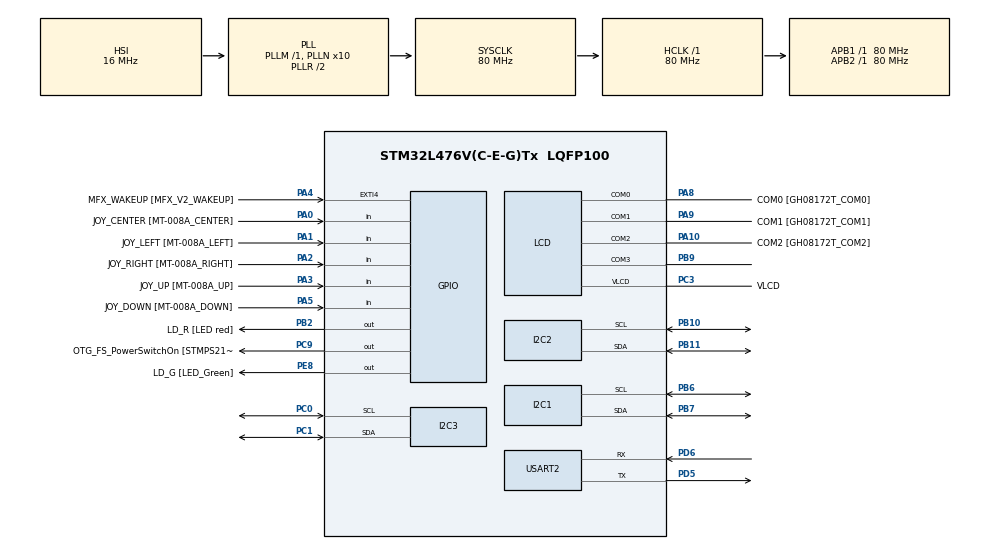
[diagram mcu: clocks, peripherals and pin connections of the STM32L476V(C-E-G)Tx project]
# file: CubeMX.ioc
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I2C1.Timing=0x10909CEC
I2C2.Timing=0x10909CEC
I2C3.Timing=0x10909CEC
Mcu.Family=STM32L4
Mcu.Name=STM32L476V(C-E-G)Tx
Mcu.Package=LQFP100
NVIC.PriorityGroup=NVIC_PRIORITYGROUP_4
NVIC.USART2_IRQn=true\:0\:0\:false\:false\:true\:true\:true\:true
PA0.GPIO_Label=JOY_CENTER [MT-008A_CENTER]
PA0.GPIO_Mode=GPIO_MODE_INPUT
PA0.GPIO_PuPd=GPIO_PULLDOWN
PA0.Signal=GPIO_Input
PA1.GPIO_Label=JOY_LEFT [MT-008A_LEFT]
PA1.GPIO_Mode=GPIO_MODE_INPUT
PA1.GPIO_PuPd=GPIO_PULLDOWN
PA1.Signal=GPIO_Input
PA10.GPIO_Label=COM2 [GH08172T_COM2]
PA10.GPIO_Mode=GPIO_MODE_AF_PP
PA10.GPIO_PuPd=GPIO_NOPULL
PA10.GPIO_Speed=GPIO_SPEED_FREQ_LOW
PA10.Mode=1/4 Duty Cycle
PA10.Signal=LCD_COM2
PA11.GPIO_Label=OTG_FS_DM [EMIF02-USB03F2_D-out]
PA11.GPIO_Mode=GPIO_MODE_AF_PP
PA11.GPIO_PuPd=GPIO_NOPULL
PA11.GPIO_Speed=GPIO_SPEED_FREQ_VERY_HIGH
PA11.Signal=USB_OTG_FS_DM
PA12.GPIO_Label=OTG_FS_DP [EMIF02-USB03F2_D+out]
PA12.GPIO_Mode=GPIO_MODE_AF_PP
PA12.GPIO_PuPd=GPIO_NOPULL
PA12.GPIO_Speed=GPIO_SPEED_FREQ_VERY_HIGH
PA12.Signal=USB_OTG_FS_DP
PA13\ (JTMS-SWDIO).Mode=Serial_Wire
PA13\ (JTMS-SWDIO).Signal=SYS_JTMS-SWDIO
PA14\ (JTCK-SWCLK).Mode=Serial_Wire
PA14\ (JTCK-SWCLK).Signal=SYS_JTCK-SWCLK
PA2.GPIO_Label=JOY_RIGHT [MT-008A_RIGHT]
PA2.GPIO_Mode=GPIO_MODE_INPUT
PA2.GPIO_PuPd=GPIO_PULLDOWN
PA2.Signal=GPIO_Input
PA3.GPIO_Label=JOY_UP [MT-008A_UP]
PA3.GPIO_Mode=GPIO_MODE_INPUT
PA3.GPIO_PuPd=GPIO_PULLDOWN
PA3.Signal=GPIO_Input
PA4.GPIO_Label=MFX_WAKEUP [MFX_V2_WAKEUP]
PA4.GPIO_ModeDefaultEXTI=GPIO_MODE_EVT_RISING
PA4.GPIO_PuPd=GPIO_NOPULL
PA4.Signal=GPXTI4
PA5.GPIO_Label=JOY_DOWN [MT-008A_DOWN]
PA5.GPIO_Mode=GPIO_MODE_INPUT
PA5.GPIO_PuPd=GPIO_PULLDOWN
PA5.Signal=GPIO_Input
PA8.GPIO_Label=COM0 [GH08172T_COM0]
PA8.GPIO_Mode=GPIO_MODE_AF_PP
PA8.GPIO_PuPd=GPIO_NOPULL
PA8.GPIO_Speed=GPIO_SPEED_FREQ_LOW
PA8.Mode=1/4 Duty Cycle
PA8.Signal=LCD_COM0
PA9.GPIO_Label=COM1 [GH08172T_COM1]
PA9.GPIO_Mode=GPIO_MODE_AF_PP
PA9.GPIO_PuPd=GPIO_NOPULL
PA9.GPIO_Speed=GPIO_SPEED_FREQ_LOW
PA9.Mode=1/4 Duty Cycle
PA9.Signal=LCD_COM1
PB10.Mode=I2C
PB10.Signal=I2C2_SCL
PB11.Mode=I2C
PB11.Signal=I2C2_SDA
PB2.GPIO_Label=LD_R [LED red]
PB2.GPIO_ModeDefaultOutputPP=GPIO_MODE_OUTPUT_PP
PB2.GPIO_PuPd=GPIO_PULLUP
PB2.GPIO_Speed=GPIO_SPEED_FREQ_VERY_HIGH
PB2.Signal=GPIO_Output
PB6.Mode=I2C
PB6.Signal=I2C1_SCL
PB7.Mode=I2C
PB7.Signal=I2C1_SDA
PB9.Mode=1/4 Duty Cycle
PB9.Signal=LCD_COM3
PC0.Mode=I2C
PC0.Signal=I2C3_SCL
PC1.Mode=I2C
PC1.Signal=I2C3_SDA
PC3.GPIO_Label=VLCD
PC3.GPIO_Mode=GPIO_MODE_AF_PP
PC3.GPIO_PuPd=GPIO_NOPULL
PC3.GPIO_Speed=GPIO_SPEED_FREQ_LOW
PC3.Mode=1/4 Duty Cycle
PC3.Signal=LCD_VLCD
PC9.GPIO_Label=OTG_FS_PowerSwitchOn [STMPS2141STR_EN]
PC9.GPIO_ModeDefaultOutputPP=GPIO_MODE_OUTPUT_PP
PC9.GPIO_PuPd=GPIO_NOPULL
PC9.GPIO_Speed=GPIO_SPEED_FREQ_LOW
PC9.PinState=GPIO_PIN_SET
PC9.Signal=GPIO_Output
PD5.Mode=Asynchronous
PD5.Signal=USART2_TX
PD6.Mode=Asynchronous
PD6.Signal=USART2_RX
PE8.GPIO_Label=LD_G [LED_Green]
PE8.GPIO_ModeDefaultOutputPP=GPIO_MODE_OUTPUT_PP
PE8.GPIO_PuPd=GPIO_PULLUP
PE8.GPIO_Speed=GPIO_SPEED_FREQ_VERY_HIGH
PE8.Signal=GPIO_Output
PH0-OSC_IN\ (PH0).Mode=HSE-External-Oscillator
PH0-OSC_IN\ (PH0).Signal=RCC_OSC_IN
PH1-OSC_OUT\ (PH1).Mode=HSE-External-Oscillator
PH1-OSC_OUT\ (PH1).Signal=RCC_OSC_OUT
ProjectManager.HeapSize=0x200
ProjectManager.StackSize=0x400
ProjectManager.TargetToolchain=STM32CubeIDE
RCC.ADCFreq_Value=136000000
RCC.AHBFreq_Value=80000000
RCC.APB1Freq_Value=80000000
RCC.APB1TimFreq_Value=80000000
RCC.APB2Freq_Value=80000000
RCC.APB2TimFreq_Value=80000000
RCC.CortexFreq_Value=80000000
RCC.HCLKFreq_Value=80000000
RCC.HSE_VALUE=8000000
RCC.HSI_VALUE=16000000
RCC.LSE_VALUE=32768
RCC.MSI_VALUE=4000000
RCC.PLLN=10
RCC.PLLQ=RCC_PLLQ_DIV4
RCC.PLLSAI1N=17
RCC.PLLSAI1Q=RCC_PLLQ_DIV4
RCC.PLLSourceVirtual=RCC_PLLSOURCE_HSI
RCC.PREFETCH_ENABLE=1
RCC.SYSCLKFreq_VALUE=80000000
RCC.SYSCLKSource=RCC_SYSCLKSOURCE_PLLCLK
RCC.USBFreq_Value=68000000
RCC.VCOOutputFreq_Value=160000000
USART2.VirtualMode-Asynchronous=VM_ASYNC
board=STM32L476G-DISCO

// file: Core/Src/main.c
/* USER CODE BEGIN Header */
/**
  ******************************************************************************
  * @file           : main.c
  * @brief          : Main program body
  ******************************************************************************
  * @attention
  *
  * Copyright (c) 2023 STMicroelectronics.
  * All rights reserved.
  *
  * This software is licensed under terms that can be found in the LICENSE file
  * in the root directory of this software component.
  * If no LICENSE file comes with this software, it is provided AS-IS.
  *
  ******************************************************************************
  */
/* USER CODE END Header */
#include "main.h"

/* USER CODE BEGIN Includes */
#include "i2c.h"
#include "usart.h"
#include "bmp280.h"
#include "bmp280_defs.h"
#include <stdio.h>
#include "driver_aht20.h"
#include "stm32l476g_discovery_glass_lcd.h"
#include <string.h>

/* USER CODE END Includes */

//I2C_HandleTypeDef hi2c1;
I2C_HandleTypeDef hi2c2;
I2C_HandleTypeDef hi2c3;

LCD_HandleTypeDef hlcd;

//UART_HandleTypeDef huart2;

void SystemClock_Config(void);
static void MX_GPIO_Init(void);
//static void MX_I2C1_Init(void);
static void MX_I2C2_Init(void);
static void MX_I2C3_Init(void);
static void MX_LCD_Init(void);
//static void MX_USART2_UART_Init(void);
/* USER CODE BEGIN PFP */

int8_t BMP280_init(void);
int8_t BMP280_read(void);
void delay_ms(uint32_t period_ms);
int8_t i2c_reg_write(uint8_t i2c_addr, uint8_t reg_addr, uint8_t *reg_data, uint16_t length);
int8_t i2c_reg_read(uint8_t i2c_addr, uint8_t reg_addr, uint8_t *reg_data, uint16_t length);
void print_rslt(const char api_name[], int8_t rslt);

/* USER CODE END PFP */

/* USER CODE BEGIN 0 */
JOYState_TypeDef JoyState;
FlagStatus KeyPressed;

struct bmp280_dev bmp;
struct bmp280_uncomp_data ucomp_data;
/* USER CODE END 0 */

int main(void)
{

  /* MCU Configuration--------------------------------------------------------*/

  /* Reset of all peripherals, Initializes the Flash interface and the Systick. */
  HAL_Init();

  /* Configure the system clock */
  SystemClock_Config();

  /* Initialize all configured peripherals */
  MX_GPIO_Init();
  MX_I2C1_Init();
  MX_I2C2_Init();
  MX_I2C3_Init();
  MX_LCD_Init();
  MX_USART2_UART_Init();
  /* USER CODE BEGIN 2 */
  BSP_LCD_GLASS_Init();
  BSP_LCD_GLASS_Clear();
  DEV_ModuleInit();
  TSL2591_Init();
  BMP280_init();
  int8_t test;
  double pres, temp;
  char buf[7] ="";
  char celsius[2] = " C";
  char hpa[3] = "hPa";
  char lux[3] = " lx";
  int i = 1;
  int flag = 0;
  /* USER CODE END 2 */

  /* Infinite loop */
  /* USER CODE BEGIN WHILE */
  while (1)
  {
	  BMP280_read();
	  printf("Natezenie swiatla = %d lx \r\n",TSL2591_Read_Lux());
	  test = bmp280_get_uncomp_data(&ucomp_data, &bmp);
	  test = bmp280_get_comp_pres_double(&pres, ucomp_data.uncomp_press, &bmp);
	  test = bmp280_get_comp_temp_double(&temp, ucomp_data.uncomp_temp, &bmp);
	  printf("%.2f, %.2f, %d\r\n", temp, pres, TSL2591_Read_Lux() );
	  int n = TSL2591_Read_Lux();
	  int p = ((int)pres)/100;
	  int t = (int)temp;

	  if (BSP_JOY_GetState() == JOY_LEFT){
		  flag = 1;
	  } else if (BSP_JOY_GetState() == JOY_RIGHT) {
		  flag = 2;
	  } else if (BSP_JOY_GetState() == JOY_UP) {
		  flag = 3;
	  } else if (BSP_JOY_GetState() == JOY_SEL) {
		  flag = 5;
	  }

	  if (flag == 1){
		  BSP_LCD_GLASS_Clear();
		  itoa(t,buf,10);
		  strcat(buf,celsius);
		  BSP_LCD_GLASS_DisplayString((uint8_t*)buf);
	  }	else if(flag == 2){
		  BSP_LCD_GLASS_Clear();
		  itoa(p,buf,10);
		  strcat(buf,hpa);
		  BSP_LCD_GLASS_DisplayString((uint8_t*)buf);
	  }	else if(flag == 3){
		  BSP_LCD_GLASS_Clear();
		  itoa(n,buf,10);
		  strcat(buf,lux);
		  BSP_LCD_GLASS_DisplayString((uint8_t*)buf);
	  } else if(flag == 5){
		  if(i<=5){
			  BSP_LCD_GLASS_Clear();
			  itoa(t,buf,10);
			  strcat(buf,celsius);
			  BSP_LCD_GLASS_DisplayString((uint8_t*)buf);
			  i++;
		  } else if(i>=6 && i<=10){
			  BSP_LCD_GLASS_Clear();
			  itoa(p,buf,10);
			  strcat(buf,hpa);
			  BSP_LCD_GLASS_DisplayString((uint8_t*)buf);
			  i++;
		  } else if(i>=11 && i<=15){
			  BSP_LCD_GLASS_Clear();
			  itoa(n,buf,10);
			  strcat(buf,lux);
			  BSP_LCD_GLASS_DisplayString((uint8_t*)buf);
			  i++;
			  if(i==16){
				  i = 1;
			  }
		  }
	  }
	  HAL_Delay(100);
    /* USER CODE END WHILE */

  }
}

void SystemClock_Config(void)
{
  RCC_OscInitTypeDef RCC_OscInitStruct = {0};
  RCC_ClkInitTypeDef RCC_ClkInitStruct = {0};

  /** Configure the main internal regulator output voltage
  */
  if (HAL_PWREx_ControlVoltageScaling(PWR_REGULATOR_VOLTAGE_SCALE1) != HAL_OK)
  {
    Error_Handler();
  }

  /** Initializes the RCC Oscillators according to the specified parameters
  * in the RCC_OscInitTypeDef structure.
  */
  RCC_OscInitStruct.OscillatorType = RCC_OSCILLATORTYPE_HSI|RCC_OSCILLATORTYPE_LSI;
  RCC_OscInitStruct.HSIState = RCC_HSI_ON;
  RCC_OscInitStruct.HSICalibrationValue = RCC_HSICALIBRATION_DEFAULT;
  RCC_OscInitStruct.LSIState = RCC_LSI_ON;
  RCC_OscInitStruct.PLL.PLLState = RCC_PLL_ON;
  RCC_OscInitStruct.PLL.PLLSource = RCC_PLLSOURCE_HSI;
  RCC_OscInitStruct.PLL.PLLM = 1;
  RCC_OscInitStruct.PLL.PLLN = 10;
  RCC_OscInitStruct.PLL.PLLP = RCC_PLLP_DIV7;
  RCC_OscInitStruct.PLL.PLLQ = RCC_PLLQ_DIV4;
  RCC_OscInitStruct.PLL.PLLR = RCC_PLLR_DIV2;
  if (HAL_RCC_OscConfig(&RCC_OscInitStruct) != HAL_OK)
  {
    Error_Handler();
  }

  /** Initializes the CPU, AHB and APB buses clocks
  */
  RCC_ClkInitStruct.ClockType = RCC_CLOCKTYPE_HCLK|RCC_CLOCKTYPE_SYSCLK
                              |RCC_CLOCKTYPE_PCLK1|RCC_CLOCKTYPE_PCLK2;
  RCC_ClkInitStruct.SYSCLKSource = RCC_SYSCLKSOURCE_PLLCLK;
  RCC_ClkInitStruct.AHBCLKDivider = RCC_SYSCLK_DIV1;
  RCC_ClkInitStruct.APB1CLKDivider = RCC_HCLK_DIV1;
  RCC_ClkInitStruct.APB2CLKDivider = RCC_HCLK_DIV1;

  if (HAL_RCC_ClockConfig(&RCC_ClkInitStruct, FLASH_LATENCY_4) != HAL_OK)
  {
    Error_Handler();
  }
}

static void MX_I2C2_Init(void)
{

  hi2c2.Instance = I2C2;
  hi2c2.Init.Timing = 0x10909CEC;
  hi2c2.Init.OwnAddress1 = 0;
  hi2c2.Init.AddressingMode = I2C_ADDRESSINGMODE_7BIT;
  hi2c2.Init.DualAddressMode = I2C_DUALADDRESS_DISABLE;
  hi2c2.Init.OwnAddress2 = 0;
  hi2c2.Init.OwnAddress2Masks = I2C_OA2_NOMASK;
  hi2c2.Init.GeneralCallMode = I2C_GENERALCALL_DISABLE;
  hi2c2.Init.NoStretchMode = I2C_NOSTRETCH_DISABLE;
  if (HAL_I2C_Init(&hi2c2) != HAL_OK)
  {
    Error_Handler();
  }

  /** Configure Analogue filter
  */
  if (HAL_I2CEx_ConfigAnalogFilter(&hi2c2, I2C_ANALOGFILTER_ENABLE) != HAL_OK)
  {
    Error_Handler();
  }

  /** Configure Digital filter
  */
  if (HAL_I2CEx_ConfigDigitalFilter(&hi2c2, 0) != HAL_OK)
  {
    Error_Handler();
  }

}

static void MX_I2C3_Init(void)
{

  hi2c3.Instance = I2C3;
  hi2c3.Init.Timing = 0x10909CEC;
  hi2c3.Init.OwnAddress1 = 0;
  hi2c3.Init.AddressingMode = I2C_ADDRESSINGMODE_7BIT;
  hi2c3.Init.DualAddressMode = I2C_DUALADDRESS_DISABLE;
  hi2c3.Init.OwnAddress2 = 0;
  hi2c3.Init.OwnAddress2Masks = I2C_OA2_NOMASK;
  hi2c3.Init.GeneralCallMode = I2C_GENERALCALL_DISABLE;
  hi2c3.Init.NoStretchMode = I2C_NOSTRETCH_DISABLE;
  if (HAL_I2C_Init(&hi2c3) != HAL_OK)
  {
    Error_Handler();
  }

  /** Configure Analogue filter
  */
  if (HAL_I2CEx_ConfigAnalogFilter(&hi2c3, I2C_ANALOGFILTER_ENABLE) != HAL_OK)
  {
    Error_Handler();
  }

  /** Configure Digital filter
  */
  if (HAL_I2CEx_ConfigDigitalFilter(&hi2c3, 0) != HAL_OK)
  {
    Error_Handler();
  }

}

static void MX_LCD_Init(void)
{

  hlcd.Instance = LCD;
  hlcd.Init.Prescaler = LCD_PRESCALER_1;
  hlcd.Init.Divider = LCD_DIVIDER_16;
  hlcd.Init.Duty = LCD_DUTY_1_4;
  hlcd.Init.Bias = LCD_BIAS_1_4;
  hlcd.Init.VoltageSource = LCD_VOLTAGESOURCE_INTERNAL;
  hlcd.Init.Contrast = LCD_CONTRASTLEVEL_0;
  hlcd.Init.DeadTime = LCD_DEADTIME_0;
  hlcd.Init.PulseOnDuration = LCD_PULSEONDURATION_0;
  hlcd.Init.MuxSegment = LCD_MUXSEGMENT_DISABLE;
  hlcd.Init.BlinkMode = LCD_BLINKMODE_OFF;
  hlcd.Init.BlinkFrequency = LCD_BLINKFREQUENCY_DIV8;
  hlcd.Init.HighDrive = LCD_HIGHDRIVE_DISABLE;
  if (HAL_LCD_Init(&hlcd) != HAL_OK)
  {
    Error_Handler();
  }

}

static void MX_GPIO_Init(void)
{
  GPIO_InitTypeDef GPIO_InitStruct = {0};

  /* GPIO Ports Clock Enable */
  __HAL_RCC_GPIOH_CLK_ENABLE();
  __HAL_RCC_GPIOC_CLK_ENABLE();
  __HAL_RCC_GPIOA_CLK_ENABLE();
  __HAL_RCC_GPIOB_CLK_ENABLE();
  __HAL_RCC_GPIOE_CLK_ENABLE();
  __HAL_RCC_GPIOD_CLK_ENABLE();

  /*Configure GPIO pin Output Level */
  HAL_GPIO_WritePin(LD_R_GPIO_Port, LD_R_Pin, GPIO_PIN_RESET);

  /*Configure GPIO pin Output Level */
  HAL_GPIO_WritePin(LD_G_GPIO_Port, LD_G_Pin, GPIO_PIN_RESET);

  /*Configure GPIO pin Output Level */
  HAL_GPIO_WritePin(OTG_FS_PowerSwitchOn_GPIO_Port, OTG_FS_PowerSwitchOn_Pin, GPIO_PIN_SET);

  /*Configure GPIO pins : JOY_CENTER_Pin JOY_LEFT_Pin JOY_RIGHT_Pin JOY_UP_Pin
                           JOY_DOWN_Pin */
  GPIO_InitStruct.Pin = JOY_CENTER_Pin|JOY_LEFT_Pin|JOY_RIGHT_Pin|JOY_UP_Pin
                          |JOY_DOWN_Pin;
  GPIO_InitStruct.Mode = GPIO_MODE_INPUT;
  GPIO_InitStruct.Pull = GPIO_PULLDOWN;
  HAL_GPIO_Init(GPIOA, &GPIO_InitStruct);

  /*Configure GPIO pin : MFX_WAKEUP_Pin */
  GPIO_InitStruct.Pin = MFX_WAKEUP_Pin;
  GPIO_InitStruct.Mode = GPIO_MODE_EVT_RISING;
  GPIO_InitStruct.Pull = GPIO_NOPULL;
  HAL_GPIO_Init(MFX_WAKEUP_GPIO_Port, &GPIO_InitStruct);

  /*Configure GPIO pin : LD_R_Pin */
  GPIO_InitStruct.Pin = LD_R_Pin;
  GPIO_InitStruct.Mode = GPIO_MODE_OUTPUT_PP;
  GPIO_InitStruct.Pull = GPIO_PULLUP;
  GPIO_InitStruct.Speed = GPIO_SPEED_FREQ_VERY_HIGH;
  HAL_GPIO_Init(LD_R_GPIO_Port, &GPIO_InitStruct);

  /*Configure GPIO pin : LD_G_Pin */
  GPIO_InitStruct.Pin = LD_G_Pin;
  GPIO_InitStruct.Mode = GPIO_MODE_OUTPUT_PP;
  GPIO_InitStruct.Pull = GPIO_PULLUP;
  GPIO_InitStruct.Speed = GPIO_SPEED_FREQ_VERY_HIGH;
  HAL_GPIO_Init(LD_G_GPIO_Port, &GPIO_InitStruct);

  /*Configure GPIO pin : OTG_FS_PowerSwitchOn_Pin */
  GPIO_InitStruct.Pin = OTG_FS_PowerSwitchOn_Pin;
  GPIO_InitStruct.Mode = GPIO_MODE_OUTPUT_PP;
  GPIO_InitStruct.Pull = GPIO_NOPULL;
  GPIO_InitStruct.Speed = GPIO_SPEED_FREQ_LOW;
  HAL_GPIO_Init(OTG_FS_PowerSwitchOn_GPIO_Port, &GPIO_InitStruct);

  /*Configure GPIO pins : OTG_FS_DM_Pin OTG_FS_DP_Pin */
  GPIO_InitStruct.Pin = OTG_FS_DM_Pin|OTG_FS_DP_Pin;
  GPIO_InitStruct.Mode = GPIO_MODE_AF_PP;
  GPIO_InitStruct.Pull = GPIO_NOPULL;
  GPIO_InitStruct.Speed = GPIO_SPEED_FREQ_VERY_HIGH;
  GPIO_InitStruct.Alternate = GPIO_AF10_OTG_FS;
  HAL_GPIO_Init(GPIOA, &GPIO_InitStruct);

}

/* USER CODE BEGIN 4 */
int8_t BMP280_init(void) {
	int8_t rslt;
    struct bmp280_config conf;

    /* Map the delay function pointer with the function responsible for implementing the delay */
    bmp.delay_ms = delay_ms;

    /* Assign device I2C address based on the status of SDO pin (GND for PRIMARY(0x76) & VDD for SECONDARY(0x77)) */
    bmp.dev_id = (BMP280_I2C_ADDR_PRIM<<1);

    /* Select the interface mode as I2C */
    bmp.intf = BMP280_I2C_INTF;

    /* Map the I2C read & write function pointer with the functions responsible for I2C bus transfer */
    bmp.read = i2c_reg_read;
    bmp.write = i2c_reg_write;

    /* To enable SPI interface: comment the above 4 lines and uncomment the below 4 lines */

    /*
     * bmp.dev_id = 0;
     * bmp.read = spi_reg_read;
     * bmp.write = spi_reg_write;
     * bmp.intf = BMP280_SPI_INTF;
     */
    rslt = bmp280_init(&bmp);
    print_rslt(" bmp280_init status", rslt);

    /* Always read the current settings before writing, especially when
     * all the configuration is not modified
     */
    rslt = bmp280_get_config(&conf, &bmp);
    print_rslt(" bmp280_get_config status", rslt);

    /* configuring the temperature oversampling, filter coefficient and output data rate */
    /* Overwrite the desired settings */
    conf.filter = BMP280_FILTER_COEFF_2;

    /* Pressure oversampling set at 4x */
    conf.os_pres = BMP280_OS_4X;

    /* Temperature oversampling set at 4x */
    conf.os_temp = BMP280_OS_4X;

    /* Setting the output data rate as 1HZ(1000ms) */
    conf.odr = BMP280_ODR_1000_MS;
    rslt = bmp280_set_config(&conf, &bmp);
    print_rslt(" bmp280_set_config status", rslt);

    /* Always set the power mode after setting the configuration */
    rslt = bmp280_set_power_mode(BMP280_NORMAL_MODE, &bmp);
    print_rslt(" bmp280_set_power_mode status", rslt);

    return rslt;

}

int8_t BMP280_read(void) {
	 int8_t rslt;

     //uint32_t pres32, pres64, temp32;
     double pres, temp;

	 /* Pobranie danych z czujnika */
     rslt = bmp280_get_uncomp_data(&ucomp_data, &bmp);

     /* Konwersja danych na liczby 32-bitowe */
     /* rslt = bmp280_get_comp_pres_32bit(&pres32, ucomp_data.uncomp_press, &bmp);
      * rslt = bmp280_get_comp_temp_32bit(&temp32, ucomp_data.uncomp_temp, &bmp);
      */

     /* Konwersja na liczby zmiennoprzecinkowe */
     rslt = bmp280_get_comp_pres_double(&pres, ucomp_data.uncomp_press, &bmp);
     rslt = bmp280_get_comp_temp_double(&temp, ucomp_data.uncomp_temp, &bmp);

     /* Wyswietlenie wartosci */
     printf("Temperatura: %.2f C\n Cisnienie: %.2f Pa \n", temp, pres);

     return rslt;
}

void delay_ms(uint32_t period_ms)
{
	HAL_Delay(period_ms);
    /* Implement the delay routine according to the target machine */
}

/*!
 *  @brief Function for writing the sensor's registers through I2C bus.
 *
 *  @param[in] i2c_addr : sensor I2C address.
 *  @param[in] reg_addr : Register address.
 *  @param[in] reg_data : Pointer to the data buffer whose value is to be written.
 *  @param[in] length   : No of bytes to write.
 *
 *  @return Status of execution
 *  @retval 0 -> Success
 *  @retval >0 -> Failure Info
 *
 */
int8_t i2c_reg_write(uint8_t i2c_addr, uint8_t reg_addr, uint8_t *reg_data, uint16_t length)
{

    /* Implement the I2C write routine according to the target machine. */
	HAL_I2C_Mem_Write(&hi2c1, i2c_addr, reg_addr, 1, reg_data, length, 100);

	return 0;
}

/*!
 *  @brief Function for reading the sensor's registers through I2C bus.
 *
 *  @param[in] i2c_addr : Sensor I2C address.
 *  @param[in] reg_addr : Register address.
 *  @param[out] reg_data    : Pointer to the data buffer to store the read data.
 *  @param[in] length   : No of bytes to read.
 *
 *  @return Status of execution
 *  @retval 0 -> Success
 *  @retval >0 -> Failure Info
 *
 */
int8_t i2c_reg_read(uint8_t i2c_addr, uint8_t reg_addr, uint8_t *reg_data, uint16_t length)
{

    /* Implement the I2C read routine according to the target machine. */
	HAL_I2C_Mem_Read(&hi2c1, i2c_addr, reg_addr, 1, reg_data, length, 100);

    return 0;
}

void print_rslt(const char api_name[], int8_t rslt)
{
    if (rslt != BMP280_OK)
    {
        printf("%s\t", api_name);
        if (rslt == BMP280_E_NULL_PTR)
        {
            printf("Error [%d] : Null pointer error\r\n", rslt);
        }
        else if (rslt == BMP280_E_COMM_FAIL)
        {
            printf("Error [%d] : Bus communication failed\r\n", rslt);
        }
        else if (rslt == BMP280_E_IMPLAUS_TEMP)
        {
            printf("Error [%d] : Invalid Temperature\r\n", rslt);
        }
        else if (rslt == BMP280_E_DEV_NOT_FOUND)
        {
            printf("Error [%d] : Device not found\r\n", rslt);
        }
        else
        {
            /* For more error codes refer "*_defs.h" */
            printf("Error [%d] : Unknown error code\r\n", rslt);
        }
    }
}

void Joystick_demo()
{
  JOYState_TypeDef previousstate = JOY_NONE;

  while(previousstate != JOY_LEFT)
  {
    if (KeyPressed)
    {
      switch(JoyState)
      {
      case JOY_LEFT:
        BSP_LCD_GLASS_DisplayString((uint8_t *)"  LEFT");
        HAL_Delay(1000);
        break;

      case JOY_RIGHT:
        BSP_LCD_GLASS_DisplayString((uint8_t *)" RIGHT");
        break;

      case JOY_UP:
        BSP_LCD_GLASS_DisplayString((uint8_t *)"    UP");
        break;

      case JOY_DOWN:
        BSP_LCD_GLASS_DisplayString((uint8_t *)"  DOWN");
        break;

      case JOY_SEL:
        BSP_LCD_GLASS_DisplayString((uint8_t *)"   SEL");
        break;

      default:
        break;
      }

      if(previousstate != JoyState)
      {
        BSP_LED_Off(LED4);
        BSP_LED_Off(LED5);
        if(JoyState == JOY_UP)
        {
          BSP_LED_On(LED5);
        }
      }

      previousstate = JoyState;
      KeyPressed = RESET;
      HAL_Delay(200);
    }
  }
}

/* USER CODE END 4 */

void Error_Handler(void)
{
  __disable_irq();
  while (1)
  {
  }
}
